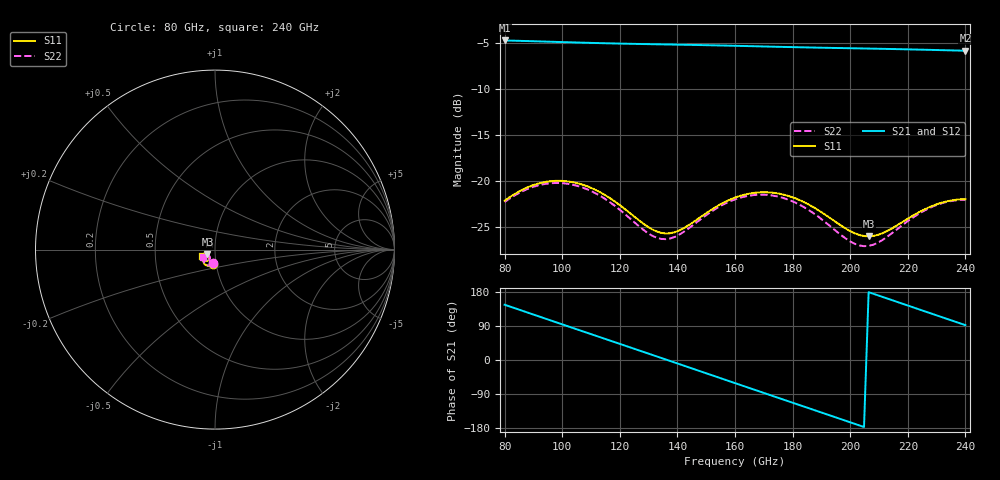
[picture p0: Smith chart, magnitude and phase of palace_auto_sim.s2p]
#  GHZ S DB R 50
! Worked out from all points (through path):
!   101 points, 80 GHz to 240 GHz, reference 50 ohm
!   highest |S21| = -4.77 dB at 80 GHz (marker M1); lowest = -5.9 dB at 240 GHz (marker M2)
!   group delay of S21, straight-line fit = 7.19 ps
!   lowest |S11| = -26.0 dB at 206.4 GHz (marker M3), VSWR 1.11, Z = 45.9 - j2.46 ohm
!   |S11| at or under -10 dB: start of sweep to end of sweep
!   |S22| runs from -27.1 to -20.2 dB; largest |S21 - S12| = 6.2e-14
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80  -22.14 -97.1  -4.77 145.9  -4.77 145.9  -22.29 -97.6
88  -20.69 -104.1  -4.84 125.2  -4.84 125.2  -20.87 -104.6
94.4  -20.10 -113.0  -4.89 108.6  -4.89 108.6  -20.31 -113.6
100.8  -20.02 -122.8  -4.95 92.0  -4.95 92.0  -20.27 -123.4
107.2  -20.42 -132.3  -5.01 75.5  -5.01 75.5  -20.74 -133.0
113.6  -21.31 -140.4  -5.06 59.0  -5.06 59.0  -21.70 -141.1
121.6  -23.01 -146.3  -5.12 38.4  -5.12 38.4  -23.55 -146.7
128  -24.60 -145.0  -5.16 21.9  -5.16 21.9  -25.26 -144.4
134.4  -25.64 -136.8  -5.19 5.4  -5.19 5.4  -26.29 -134.5
139.2  -25.55 -128.8  -5.22 -7.0  -5.22 -7.0  -26.06 -125.7
147.2  -24.10 -121.7  -5.26 -27.8  -5.26 -27.8  -24.36 -118.9
160  -21.81 -128.6  -5.35 -61.0  -5.35 -61.0  -22.00 -127.2
166.4  -21.31 -136.0  -5.39 -77.6  -5.39 -77.6  -21.54 -135.2
172.8  -21.27 -144.1  -5.44 -94.1  -5.44 -94.1  -21.58 -143.7
179.2  -21.70 -151.7  -5.49 -110.7  -5.49 -110.7  -22.12 -151.7
187.2  -22.85 -158.7  -5.54 -131.3  -5.54 -131.3  -23.49 -158.8
196.8  -24.84 -159.3  -5.59 -156.1  -5.59 -156.1  -25.87 -157.9
206.4  -26.01 -147.7  -5.65 179.0  -5.65 179.0  -27.05 -141.8
214.4  -25.17 -137.9  -5.70 158.3  -5.70 158.3  -25.70 -130.3
227.2  -22.89 -139.0  -5.79 125.1  -5.79 125.1  -22.99 -133.3
233.6  -22.21 -144.6  -5.83 108.5  -5.83 108.5  -22.28 -139.8
240  -21.98 -151.4  -5.88 92.0  -5.88 92.0  -22.06 -147.4
